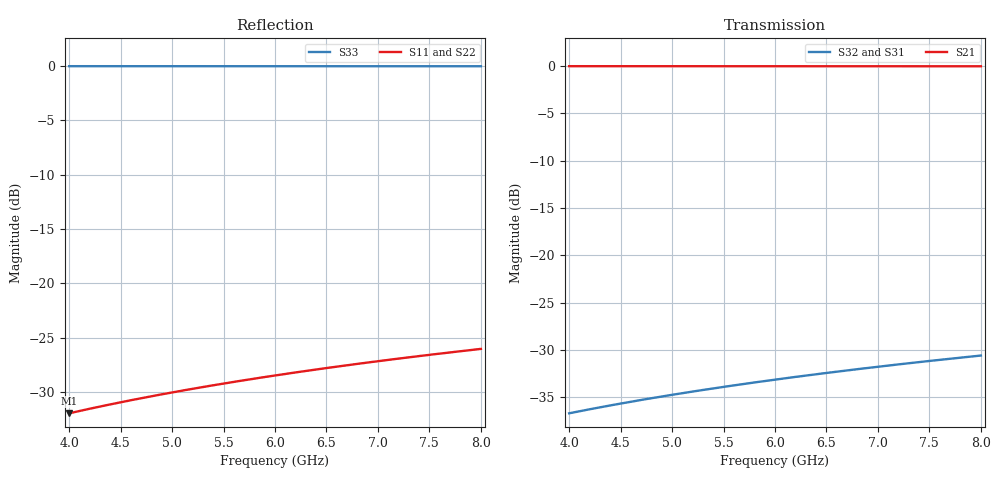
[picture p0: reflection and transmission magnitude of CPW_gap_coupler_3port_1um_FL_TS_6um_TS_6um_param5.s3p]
! Sonnet Data File
! From: em Version : 15.52
! From Project: CPW_gap_coupler_3port_1um_FL_TS_6um
! Data is De-embedded
! Data File Written: 08/14/2018 17:24:40
!< HDATE 08/14/2018 17:19:51
!< MDATE 08/14/2018 17:19:51
!< PARAMS
!< gap = 2.0
!< cpwS = 5.0
!< cpwS1 = 5.0
!< feedW = 12.0
!< feedS1 = 5.0
!< cond_length = 444.0
!< inner_length = 426.0
!< hangerW = 12.0000175
!< open_gap = 22.0
!< coupler_length = 450.0
!< END PARAMS
# GHZ S MA R 50.00000
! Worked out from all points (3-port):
!   201 points, 4 GHz to 8 GHz, reference 50 ohm
!   strongest paths, dB at 4 GHz, 5 GHz, 6 GHz, 7 GHz, 8 GHz:
!     S21: 0.0, 0.0, 0.0, 0.0, 0.0
!     S32: -36.7, -34.7, -33.1, -31.8, -30.6
!     S31: -36.7, -34.8, -33.2, -31.8, -30.7
!   lowest |S11| = -32.0 dB at 4 GHz (marker M1), VSWR 1.05, Z = 50.3 + j2.51 ohm
!   |S11| at or under -10 dB: start of sweep to end of sweep
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4  0.02518 81.8  0.9996 -9.1  0.01461 77.6
   0.9996 -9.1  0.02516 80.5  0.01465 83.9
   0.01461 77.6  0.01465 83.9  0.9998 -10.9
4.22  0.02656 81.4  0.9995 -9.6  0.01541 76.9
      0.9995 -9.6  0.02653 80.0  0.01547 83.5
      0.01541 76.9  0.01547 83.5  0.9998 -11.5
4.44  0.02793 80.9  0.9995 -10.1  0.01622 76.2
      0.9995 -10.1  0.0279 79.5  0.01628 83.2
      0.01622 76.2  0.01628 83.2  0.9997 -12.1
4.92  0.03093 80.0  0.9994 -11.2  0.01797 74.7
      0.9994 -11.2  0.03088 78.3  0.01806 82.4
      0.01797 74.7  0.01806 82.4  0.9997 -13.4
5.46  0.03428 78.9  0.9992 -12.4  0.01995 73.1
      0.9992 -12.4  0.03421 77.1  0.02006 81.6
      0.01995 73.1  0.02006 81.6  0.9996 -14.9
6  0.03762 77.8  0.9991 -13.6  0.02193 71.4
   0.9991 -13.6  0.03753 75.8  0.02207 80.8
   0.02193 71.4  0.02207 80.8  0.9995 -16.4
6.46  0.04045 76.8  0.9989 -14.6  0.02361 70.0
      0.9989 -14.6  0.04035 74.7  0.02379 80.0
      0.02361 70.0  0.02379 80.0  0.9994 -17.6
6.94  0.0434 75.9  0.9987 -15.7  0.02536 68.5
      0.9987 -15.7  0.04327 73.5  0.02559 79.3
      0.02536 68.5  0.02559 79.3  0.9994 -19.0
7.44  0.04646 74.8  0.9986 -16.9  0.0272 66.9
      0.9986 -16.9  0.04629 72.4  0.02748 78.5
      0.0272 66.9  0.02748 78.5  0.9993 -20.3
8  0.04986 73.7  0.9983 -18.1  0.02925 65.2
   0.9983 -18.1  0.04966 71.0  0.0296 77.6
   0.02925 65.2  0.0296 77.6  0.9991 -21.9
